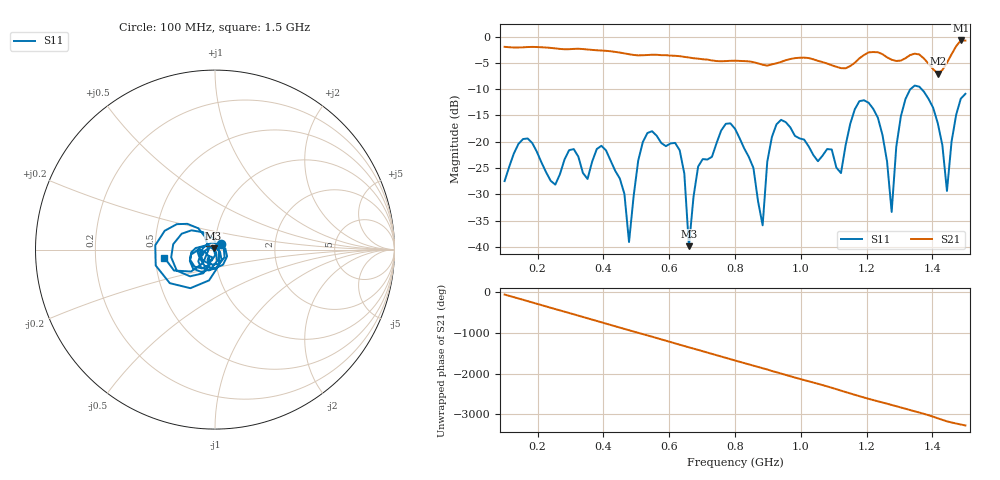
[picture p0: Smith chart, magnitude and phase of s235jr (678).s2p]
! NanoVNA-App
! Date: 2025-09-25 15:09:27
! Start: 100MHz Stop: 1,5GHz Points: 101
! S-Parameter data: F S11 S21 S12 S22
# Hz S RI R 50
!  Frequency  S11_Real  S11_Imag  S21_Real  S21_Imag  S12_Real  S12_Imag  S22_Real  S22_Imag
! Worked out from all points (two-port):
!   101 points, 100 MHz to 1.5 GHz, reference 50 ohm
!   highest |S21| = -0.75 dB at 1.486 GHz (marker M1); lowest = -7.0 dB at 1.416 GHz (marker M2)
!   |S21| within 3 dB of the highest: start of sweep to 633.6 MHz; 1.187 GHz to 1.257 GHz (70.41 MHz wide, 5.76 % of centre) (the widest 2 of 4)
!   lowest |S11| = -39.8 dB at 660 MHz (marker M3), VSWR 1.02, Z = 49.2 + j0.619 ohm
!   |S11| at or under -10 dB: start of sweep to 1.333 GHz; 1.367 GHz to end of sweep
!   S12 and S22 are empty: the file has one direction only
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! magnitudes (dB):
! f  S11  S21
! 100 MHz  -27.5  -2.0
! 170 MHz  -19.4  -2.0
! 338 MHz  -25.9  -2.4
! 408 MHz  -21.6  -2.7
! 478 MHz  -39.1  -3.4
! 520 MHz  -20.0  -3.6
! 576 MHz  -20.2  -3.5
! 632 MHz  -21.6  -3.7
! 660 MHz  -39.8  -4.0
! 688 MHz  -24.7  -4.2
! 800 MHz  -17.5  -4.6
! 884 MHz  -35.9  -5.4
! 926 MHz  -16.7  -5.1
! 1.038 GHz  -22.5  -4.3
! 1.122 GHz  -25.9  -6.0
! 1.206 GHz  -12.6  -3.0
! 1.276 GHz  -33.3  -4.4
! 1.332 GHz  -10.1  -3.5
! 1.416 GHz  -16.5  -7.0
! 1.444 GHz  -29.3  -5.0
! 1.486 GHz  -11.8  -0.7
! 1.5 GHz  -10.9  -0.8
